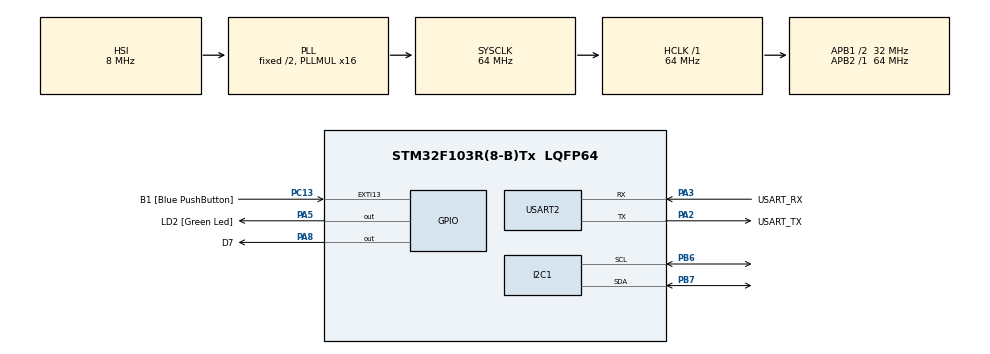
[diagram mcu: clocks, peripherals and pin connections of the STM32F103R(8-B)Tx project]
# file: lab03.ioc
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Mcu.Family=STM32F1
Mcu.Name=STM32F103R(8-B)Tx
Mcu.Package=LQFP64
NVIC.EXTI15_10_IRQn=true\:0\:0\:false\:false\:true\:true\:true\:true
NVIC.PriorityGroup=NVIC_PRIORITYGROUP_4
PA13.GPIO_Label=TMS
PA13.Mode=Serial_Wire
PA13.Signal=SYS_JTMS-SWDIO
PA14.GPIO_Label=TCK
PA14.Mode=Serial_Wire
PA14.Signal=SYS_JTCK-SWCLK
PA2.GPIO_Label=USART_TX
PA2.GPIO_Mode=GPIO_MODE_AF_PP
PA2.GPIO_PuPd=GPIO_NOPULL
PA2.GPIO_Speed=GPIO_SPEED_FREQ_LOW
PA2.Mode=Asynchronous
PA2.Signal=USART2_TX
PA3.GPIO_Label=USART_RX
PA3.GPIO_Mode=GPIO_MODE_AF_PP
PA3.GPIO_PuPd=GPIO_NOPULL
PA3.GPIO_Speed=GPIO_SPEED_FREQ_LOW
PA3.Mode=Asynchronous
PA3.Signal=USART2_RX
PA5.GPIO_Label=LD2 [Green Led]
PA5.GPIO_ModeDefaultOutputPP=GPIO_MODE_OUTPUT_PP
PA5.GPIO_PuPd=GPIO_NOPULL
PA5.GPIO_Speed=GPIO_SPEED_FREQ_LOW
PA5.Signal=GPIO_Output
PA8.GPIO_Label=D7
PA8.Signal=GPIO_Output
PB3.GPIO_Label=SWO
PB3.Signal=SYS_JTDO-TRACESWO
PB6.Mode=I2C
PB6.Signal=I2C1_SCL
PB7.Mode=I2C
PB7.Signal=I2C1_SDA
PC13-TAMPER-RTC.GPIO_Label=B1 [Blue PushButton]
PC13-TAMPER-RTC.GPIO_PuPd=GPIO_NOPULL
PC13-TAMPER-RTC.Signal=GPXTI13
PC14-OSC32_IN.Mode=LSE-External-Oscillator
PC14-OSC32_IN.Signal=RCC_OSC32_IN
PC15-OSC32_OUT.Mode=LSE-External-Oscillator
PC15-OSC32_OUT.Signal=RCC_OSC32_OUT
PD0-OSC_IN.Mode=HSE-External-Clock-Source
PD0-OSC_IN.Signal=RCC_OSC_IN
PD1-OSC_OUT.Mode=HSE-External-Clock-Source
PD1-OSC_OUT.Signal=RCC_OSC_OUT
ProjectManager.HeapSize=0x200
ProjectManager.StackSize=0x400
ProjectManager.TargetToolchain=STM32CubeIDE
RCC.AHBFreq_Value=64000000
RCC.APB1CLKDivider=RCC_HCLK_DIV2
RCC.APB1Freq_Value=32000000
RCC.APB1TimFreq_Value=64000000
RCC.APB2Freq_Value=64000000
RCC.APB2TimFreq_Value=64000000
RCC.HCLKFreq_Value=64000000
RCC.PLLMUL=RCC_PLL_MUL16
RCC.RTCClockSelection=RCC_RTCCLKSOURCE_LSE
RCC.SYSCLKFreq_VALUE=64000000
RCC.SYSCLKSource=RCC_SYSCLKSOURCE_PLLCLK
RCC.USBFreq_Value=64000000
USART2.VirtualMode=VM_ASYNC
board=NUCLEO-F103RB

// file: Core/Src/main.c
/* USER CODE BEGIN Header */
/**
  ******************************************************************************
  * @file           : main.c
  * @brief          : Main program body
  ******************************************************************************
  * @attention
  *
  * Copyright (c) 2025 STMicroelectronics.
  * All rights reserved.
  *
  * This software is licensed under terms that can be found in the LICENSE file
  * in the root directory of this software component.
  * If no LICENSE file comes with this software, it is provided AS-IS.
  *
  ******************************************************************************
  */
/* USER CODE END Header */
#include "main.h"

/* USER CODE BEGIN Includes */
#include "trig.h"
#include <math.h>
#include <stdio.h>
#include <stdlib.h>
#include <string.h>
/* USER CODE END Includes */

I2C_HandleTypeDef hi2c1;

UART_HandleTypeDef huart2;

void SystemClock_Config(void);
static void MX_GPIO_Init(void);
static void MX_USART2_UART_Init(void);
static void MX_I2C1_Init(void);

/* USER CODE BEGIN 0 */
uint8_t ReadChar(void)
{
	uint8_t val;
	while(!(USART2->SR & (1<<5)));
	val = USART2->DR;
	return val;
}

void SendChar(uint8_t c)
{
	USART2->DR = c;
	while(!(USART2->SR & (1<<6)));
}

void SendString(char* string)
{
	while(*string) SendChar(*string++);
}
/* USER CODE END 0 */

int main(void)
{

  /* MCU Configuration--------------------------------------------------------*/

  /* Reset of all peripherals, Initializes the Flash interface and the Systick. */
  HAL_Init();

  /* Configure the system clock */
  SystemClock_Config();

  /* Initialize all configured peripherals */
  MX_GPIO_Init();
  MX_USART2_UART_Init();
  MX_I2C1_Init();
  /* USER CODE BEGIN 2 */
  uint8_t MSG[40] = {'\0'};
  uint16_t time_taken;
  uint8_t inVal;
  uint16_t outVal;
  double outVal_d;
  short outVal_s;
  char sign;
  /* USER CODE END 2 */

  /* Infinite loop */
  while (1)
  {

    /* USER CODE BEGIN 3 */
	  SendString(" Enter 1 for sin and 2 for cos\n\r");
	  inVal = ReadChar();
	  sprintf(MSG, "Entered = %c\n\r", inVal);
	  SendString(MSG);

	  if(inVal == 49)
	  {
		  // x * 32767
		  // sin(0) =================================================================
		  SendString("Enter any to continue\n\r");
		  inVal = ReadChar();
		  HAL_GPIO_WritePin(GPIOA, D7_Pin, GPIO_PIN_SET);
		  outVal_s = custom_sin(0);
		  HAL_GPIO_WritePin(GPIOA, D7_Pin, GPIO_PIN_RESET);
		  if(outVal_s >= 0)
		  {
			  sign = 43;
		  }
		  else
		  {
			  sign = 45;
			  outVal_d *= -1;
		  }
		  outVal = (uint16_t)abs(outVal_s);
		  sprintf(MSG, "Custom Sin 0 = %c %d / 32768\n\r", sign, outVal);
		  HAL_UART_Transmit(&huart2, MSG, sizeof(MSG), 100);
		  memset(MSG, 0, sizeof(MSG));

		  SendString("Enter any to continue\n\r");
		  inVal = ReadChar();
		  HAL_GPIO_WritePin(GPIOA, D7_Pin, GPIO_PIN_SET);
		  outVal_d = regular_sin(0);
		  HAL_GPIO_WritePin(GPIOA, D7_Pin, GPIO_PIN_RESET);
		  if(outVal_d >= 0)
		  {
			  sign = 43;
		  }
		  else
		  {
			  sign = 45;
			  outVal_d *= -1;
		  }
		  outVal = (uint16_t)(outVal_d * 32768);
		  sprintf(MSG, "Regular Sin 0 = %c %d / 32768\n\r", sign, outVal);
		  HAL_UART_Transmit(&huart2, MSG, sizeof(MSG), 100);
		  memset(MSG, 0, sizeof(MSG));

		  // sin(0.3pi) =================================================================
		  SendString("Enter any to continue\n\r");
		  inVal = ReadChar();
		  HAL_GPIO_WritePin(GPIOA, D7_Pin, GPIO_PIN_SET);
		  outVal_s = custom_sin(0.3 * 32768);
		  HAL_GPIO_WritePin(GPIOA, D7_Pin, GPIO_PIN_RESET);
		  if(outVal_s >= 0)
		  {
			  sign = 43;
		  }
		  else
		  {
			  sign = 45;
			  outVal_d *= -1;
		  }
		  outVal = (uint16_t)abs(outVal_s);
		  sprintf(MSG, "Custom Sin 0.3pi = %c %d / 32768\n\r", sign, outVal);
		  HAL_UART_Transmit(&huart2, MSG, sizeof(MSG), 100);
		  memset(MSG, 0, sizeof(MSG));

		  SendString("Enter any to continue\n\r");
		  inVal = ReadChar();
		  HAL_GPIO_WritePin(GPIOA, D7_Pin, GPIO_PIN_SET);
		  outVal_d = regular_sin(0.3 * M_PI);
		  HAL_GPIO_WritePin(GPIOA, D7_Pin, GPIO_PIN_RESET);
		  if(outVal_d >= 0)
		  {
			  sign = 43;
		  }
		  else
		  {
			  sign = 45;
			  outVal_d *= -1;
		  }
		  outVal = (uint16_t)(outVal_d * 32768);
		  sprintf(MSG, "Regular Sin 0.3pi = %c %d / 32768\n\r", sign, outVal);
		  HAL_UART_Transmit(&huart2, MSG, sizeof(MSG), 100);
		  memset(MSG, 0, sizeof(MSG));

		  // sin(0.5pi) =================================================================
		  SendString("Enter any to continue\n\r");
		  inVal = ReadChar();
		  HAL_GPIO_WritePin(GPIOA, D7_Pin, GPIO_PIN_SET);
		  outVal_s = custom_sin(0.5 * 32768);
		  HAL_GPIO_WritePin(GPIOA, D7_Pin, GPIO_PIN_RESET);
		  if(outVal_s >= 0)
		  {
			  sign = 43;
		  }
		  else
		  {
			  sign = 45;
			  outVal_d *= -1;
		  }
		  outVal = (uint16_t)abs(outVal_s);
		  sprintf(MSG, "Custom Sin 0.5pi = %c %d / 32768\n\r", sign, outVal);
		  HAL_UART_Transmit(&huart2, MSG, sizeof(MSG), 100);
		  memset(MSG, 0, sizeof(MSG));

		  SendString("Enter any to continue\n\r");
		  inVal = ReadChar();
		  HAL_GPIO_WritePin(GPIOA, D7_Pin, GPIO_PIN_SET);
		  outVal_d = regular_sin(0.5 * M_PI);
		  HAL_GPIO_WritePin(GPIOA, D7_Pin, GPIO_PIN_RESET);
		  if(outVal_d >= 0)
		  {
			  sign = 43;
		  }
		  else
		  {
			  sign = 45;
			  outVal_d *= -1;
		  }
		  outVal = (uint16_t)(outVal_d * 32768);
		  sprintf(MSG, "Regular Sin 0.5pi = %c %d / 32768\n\r", sign, outVal);
		  HAL_UART_Transmit(&huart2, MSG, sizeof(MSG), 100);
		  memset(MSG, 0, sizeof(MSG));

		  // sin(0.8pi) =================================================================
		  SendString("Enter any to continue\n\r");
		  inVal = ReadChar();
		  HAL_GPIO_WritePin(GPIOA, D7_Pin, GPIO_PIN_SET);
		  outVal_s = custom_sin(0.8 * 32768);
		  HAL_GPIO_WritePin(GPIOA, D7_Pin, GPIO_PIN_RESET);
		  if(outVal_s >= 0)
		  {
			  sign = 43;
		  }
		  else
		  {
			  sign = 45;
			  outVal_d *= -1;
		  }
		  outVal = (uint16_t)abs(outVal_s);
		  sprintf(MSG, "Custom Sin 0.8pi = %c %d / 32768\n\r", sign, outVal);
		  HAL_UART_Transmit(&huart2, MSG, sizeof(MSG), 100);
		  memset(MSG, 0, sizeof(MSG));

		  SendString("Enter any to continue\n\r");
		  inVal = ReadChar();
		  HAL_GPIO_WritePin(GPIOA, D7_Pin, GPIO_PIN_SET);
		  outVal_d = regular_sin(0.8 * M_PI);
		  HAL_GPIO_WritePin(GPIOA, D7_Pin, GPIO_PIN_RESET);
		  if(outVal_d >= 0)
		  {
			  sign = 43;
		  }
		  else
		  {
			  sign = 45;
			  outVal_d *= -1;
		  }
		  outVal = (uint16_t)(outVal_d * 32768);
		  sprintf(MSG, "Regular Sin 0.8pi = %c %d / 32768\n\r", sign, outVal);
		  HAL_UART_Transmit(&huart2, MSG, sizeof(MSG), 100);
		  memset(MSG, 0, sizeof(MSG));

		  // sin(pi) =================================================================
		  SendString("Enter any to continue\n\r");
		  inVal = ReadChar();
		  HAL_GPIO_WritePin(GPIOA, D7_Pin, GPIO_PIN_SET);
		  outVal_s = custom_sin(32768);
		  HAL_GPIO_WritePin(GPIOA, D7_Pin, GPIO_PIN_RESET);
		  if(outVal_s >= 0)
		  {
			  sign = 43;
		  }
		  else
		  {
			  sign = 45;
			  outVal_d *= -1;
		  }
		  outVal = (uint16_t)abs(outVal_s);
		  sprintf(MSG, "Custom Sin pi = %c %d / 32768\n\r", sign, outVal);
		  HAL_UART_Transmit(&huart2, MSG, sizeof(MSG), 100);
		  memset(MSG, 0, sizeof(MSG));

		  SendString("Enter any to continue\n\r");
		  inVal = ReadChar();
		  HAL_GPIO_WritePin(GPIOA, D7_Pin, GPIO_PIN_SET);
		  outVal_d = regular_sin(M_PI);
		  HAL_GPIO_WritePin(GPIOA, D7_Pin, GPIO_PIN_RESET);
		  if(outVal_d >= 0)
		  {
			  sign = 43;
		  }
		  else
		  {
			  sign = 45;
			  outVal_d *= -1;
		  }
		  outVal = (uint16_t)(outVal_d * 32768);
		  sprintf(MSG, "Regular Sin pi = %c %d / 32768\n\r", sign, outVal);
		  HAL_UART_Transmit(&huart2, MSG, sizeof(MSG), 100);
		  memset(MSG, 0, sizeof(MSG));

		  // sin(-0.3pi) =================================================================
		  SendString("Enter any to continue\n\r");
		  inVal = ReadChar();
		  HAL_GPIO_WritePin(GPIOA, D7_Pin, GPIO_PIN_SET);
		  outVal_s = custom_sin(-0.3 * 32768);
		  HAL_GPIO_WritePin(GPIOA, D7_Pin, GPIO_PIN_RESET);
		  if(outVal_s >= 0)
		  {
			  sign = 43;
		  }
		  else
		  {
			  sign = 45;
			  outVal_d *= -1;
		  }
		  outVal = (uint16_t)abs(outVal_s);
		  sprintf(MSG, "Custom Sin -0.3pi = %c %d / 32768\n\r", sign, outVal);
		  HAL_UART_Transmit(&huart2, MSG, sizeof(MSG), 100);
		  memset(MSG, 0, sizeof(MSG));

		  SendString("Enter any to continue\n\r");
		  inVal = ReadChar();
		  HAL_GPIO_WritePin(GPIOA, D7_Pin, GPIO_PIN_SET);
		  outVal_d = regular_sin(-0.3 * M_PI);
		  HAL_GPIO_WritePin(GPIOA, D7_Pin, GPIO_PIN_RESET);
		  if(outVal_d >= 0)
		  {
			  sign = 43;
		  }
		  else
		  {
			  sign = 45;
			  outVal_d *= -1;
		  }
		  outVal = (uint16_t)(outVal_d * 32768);
		  sprintf(MSG, "Regular Sin -0.3pi = %c %d / 32768\n\r", sign, outVal);
		  HAL_UART_Transmit(&huart2, MSG, sizeof(MSG), 100);
		  memset(MSG, 0, sizeof(MSG));

		  // sin(-0.5pi) =================================================================
		  SendString("Enter any to continue\n\r");
		  inVal = ReadChar();
		  HAL_GPIO_WritePin(GPIOA, D7_Pin, GPIO_PIN_SET);
		  outVal_s = custom_sin(-0.5 * 32768);
		  HAL_GPIO_WritePin(GPIOA, D7_Pin, GPIO_PIN_RESET);
		  if(outVal_s >= 0)
		  {
			  sign = 43;
		  }
		  else
		  {
			  sign = 45;
			  outVal_d *= -1;
		  }
		  outVal = (uint16_t)abs(outVal_s);
		  sprintf(MSG, "Custom Sin -0.5pi = %c %d / 32768\n\r", sign, outVal);
		  HAL_UART_Transmit(&huart2, MSG, sizeof(MSG), 100);
		  memset(MSG, 0, sizeof(MSG));

		  SendString("Enter any to continue\n\r");
		  inVal = ReadChar();
		  HAL_GPIO_WritePin(GPIOA, D7_Pin, GPIO_PIN_SET);
		  outVal_d = regular_sin(-0.5 * M_PI);
		  HAL_GPIO_WritePin(GPIOA, D7_Pin, GPIO_PIN_RESET);
		  if(outVal_d >= 0)
		  {
			  sign = 43;
		  }
		  else
		  {
			  sign = 45;
			  outVal_d *= -1;
		  }
		  outVal = (uint16_t)(outVal_d * 32768);
		  sprintf(MSG, "Regular Sin -0.5pi = %c %d / 32768\n\r", sign, outVal);
		  HAL_UART_Transmit(&huart2, MSG, sizeof(MSG), 100);
		  memset(MSG, 0, sizeof(MSG));

		  // sin(-0.8pi) =================================================================
		  SendString("Enter any to continue\n\r");
		  inVal = ReadChar();
		  HAL_GPIO_WritePin(GPIOA, D7_Pin, GPIO_PIN_SET);
		  outVal_s = custom_sin(-0.8 * 32768);
		  HAL_GPIO_WritePin(GPIOA, D7_Pin, GPIO_PIN_RESET);
		  if(outVal_s >= 0)
		  {
			  sign = 43;
		  }
		  else
		  {
			  sign = 45;
			  outVal_d *= -1;
		  }
		  outVal = (uint16_t)abs(outVal_s);
		  sprintf(MSG, "Custom Sin -0.8pi = %c %d / 32768\n\r", sign, outVal);
		  HAL_UART_Transmit(&huart2, MSG, sizeof(MSG), 100);
		  memset(MSG, 0, sizeof(MSG));

		  SendString("Enter any to continue\n\r");
		  inVal = ReadChar();
		  HAL_GPIO_WritePin(GPIOA, D7_Pin, GPIO_PIN_SET);
		  outVal_d = regular_sin(-0.8 * M_PI);
		  HAL_GPIO_WritePin(GPIOA, D7_Pin, GPIO_PIN_RESET);
		  if(outVal_d >= 0)
		  {
			  sign = 43;
		  }
		  else
		  {
			  sign = 45;
			  outVal_d *= -1;
		  }
		  outVal = (uint16_t)(outVal_d * 32768);
		  sprintf(MSG, "Regular Sin -0.8pi = %c %d / 32768\n\r", sign, outVal);
		  HAL_UART_Transmit(&huart2, MSG, sizeof(MSG), 100);
		  memset(MSG, 0, sizeof(MSG));

		  // sin(-pi) =================================================================
		  SendString("Enter any to continue\n\r");
		  inVal = ReadChar();
		  HAL_GPIO_WritePin(GPIOA, D7_Pin, GPIO_PIN_SET);
		  outVal_s = custom_sin(-32768);
		  HAL_GPIO_WritePin(GPIOA, D7_Pin, GPIO_PIN_RESET);
		  if(outVal_s >= 0)
		  {
			  sign = 43;
		  }
		  else
		  {
			  sign = 45;
			  outVal_d *= -1;
		  }
		  outVal = (uint16_t)abs(outVal_s);
		  sprintf(MSG, "Custom Sin -pi = %c %d / 32768\n\r", sign, outVal);
		  HAL_UART_Transmit(&huart2, MSG, sizeof(MSG), 100);
		  memset(MSG, 0, sizeof(MSG));

		  SendString("Enter any to continue\n\r");
		  inVal = ReadChar();
		  HAL_GPIO_WritePin(GPIOA, D7_Pin, GPIO_PIN_SET);
		  outVal_d = regular_sin(-M_PI);
		  HAL_GPIO_WritePin(GPIOA, D7_Pin, GPIO_PIN_RESET);
		  if(outVal_d >= 0)
		  {
			  sign = 43;
		  }
		  else
		  {
			  sign = 45;
			  outVal_d *= -1;
		  }
		  outVal = (uint16_t)(outVal_d * 32768);
		  sprintf(MSG, "Regular Sin -pi = %c %d / 32768\n\r", sign, outVal);
		  HAL_UART_Transmit(&huart2, MSG, sizeof(MSG), 100);
		  memset(MSG, 0, sizeof(MSG));
	  }
	  else if(inVal == 50)
	  {
		  // x * 32767
		  // cos(0) =================================================================
		  SendString("Enter any to continue\n\r");
		  inVal = ReadChar();
		  HAL_GPIO_WritePin(GPIOA, D7_Pin, GPIO_PIN_SET);
		  outVal_s = custom_cos(0);
		  HAL_GPIO_WritePin(GPIOA, D7_Pin, GPIO_PIN_RESET);
		  if(outVal_s >= 0)
		  {
			  sign = 43;
		  }
		  else
		  {
			  sign = 45;
			  outVal_d *= -1;
		  }
		  outVal = (uint16_t)abs(outVal_s);
		  sprintf(MSG, "Custom Cos 0 = %c %d / 32768\n\r", sign, outVal);
		  HAL_UART_Transmit(&huart2, MSG, sizeof(MSG), 100);
		  memset(MSG, 0, sizeof(MSG));

		  SendString("Enter any to continue\n\r");
		  inVal = ReadChar();
		  HAL_GPIO_WritePin(GPIOA, D7_Pin, GPIO_PIN_SET);
		  outVal_d = regular_cos(0);
		  HAL_GPIO_WritePin(GPIOA, D7_Pin, GPIO_PIN_RESET);
		  if(outVal_d >= 0)
		  {
			  sign = 43;
		  }
		  else
		  {
			  sign = 45;
			  outVal_d *= -1;
		  }
		  outVal = (uint16_t)(outVal_d * 32768);
		  sprintf(MSG, "Regular Cos 0 = %c %d / 32768\n\r", sign, outVal);
		  HAL_UART_Transmit(&huart2, MSG, sizeof(MSG), 100);
		  memset(MSG, 0, sizeof(MSG));

		  // cos(0.3pi) =================================================================
		  SendString("Enter any to continue\n\r");
		  inVal = ReadChar();
		  HAL_GPIO_WritePin(GPIOA, D7_Pin, GPIO_PIN_SET);
		  outVal_s = custom_cos(0.3 * 32768);
		  HAL_GPIO_WritePin(GPIOA, D7_Pin, GPIO_PIN_RESET);
		  if(outVal_s >= 0)
		  {
			  sign = 43;
		  }
		  else
		  {
			  sign = 45;
			  outVal_d *= -1;
		  }
		  outVal = (uint16_t)abs(outVal_s);
		  sprintf(MSG, "Custom Cos 0.3pi = %c %d / 32768\n\r", sign, outVal);
		  HAL_UART_Transmit(&huart2, MSG, sizeof(MSG), 100);
		  memset(MSG, 0, sizeof(MSG));

		  SendString("Enter any to continue\n\r");
		  inVal = ReadChar();
		  HAL_GPIO_WritePin(GPIOA, D7_Pin, GPIO_PIN_SET);
		  outVal_d = regular_cos(0.3 * M_PI);
		  HAL_GPIO_WritePin(GPIOA, D7_Pin, GPIO_PIN_RESET);
		  if(outVal_d >= 0)
		  {
			  sign = 43;
		  }
		  else
		  {
			  sign = 45;
			  outVal_d *= -1;
		  }
		  outVal = (uint16_t)(outVal_d * 32768);
		  sprintf(MSG, "Regular Cos 0.3pi = %c %d / 32768\n\r", sign, outVal);
		  HAL_UART_Transmit(&huart2, MSG, sizeof(MSG), 100);
		  memset(MSG, 0, sizeof(MSG));

		  // cos(0.5pi) =================================================================
		  SendString("Enter any to continue\n\r");
		  inVal = ReadChar();
		  HAL_GPIO_WritePin(GPIOA, D7_Pin, GPIO_PIN_SET);
		  outVal_s = custom_cos(0.5 * 32768);
		  HAL_GPIO_WritePin(GPIOA, D7_Pin, GPIO_PIN_RESET);
		  if(outVal_s >= 0)
		  {
			  sign = 43;
		  }
		  else
		  {
			  sign = 45;
			  outVal_d *= -1;
		  }
		  outVal = (uint16_t)abs(outVal_s);
		  sprintf(MSG, "Custom Cos 0.5pi = %c %d / 32768\n\r", sign, outVal);
		  HAL_UART_Transmit(&huart2, MSG, sizeof(MSG), 100);
		  memset(MSG, 0, sizeof(MSG));

		  SendString("Enter any to continue\n\r");
		  inVal = ReadChar();
		  HAL_GPIO_WritePin(GPIOA, D7_Pin, GPIO_PIN_SET);
		  outVal_d = regular_cos(0.5 * M_PI);
		  HAL_GPIO_WritePin(GPIOA, D7_Pin, GPIO_PIN_RESET);
		  if(outVal_d >= 0)
		  {
			  sign = 43;
		  }
		  else
		  {
			  sign = 45;
			  outVal_d *= -1;
		  }
		  outVal = (uint16_t)(outVal_d * 32768);
		  sprintf(MSG, "Regular Cos 0.5pi = %c %d / 32768\n\r", sign, outVal);
		  HAL_UART_Transmit(&huart2, MSG, sizeof(MSG), 100);
		  memset(MSG, 0, sizeof(MSG));

		  // cos(0.8pi) =================================================================
		  SendString("Enter any to continue\n\r");
		  inVal = ReadChar();
		  HAL_GPIO_WritePin(GPIOA, D7_Pin, GPIO_PIN_SET);
		  outVal_s = custom_cos(0.8 * 32768);
		  HAL_GPIO_WritePin(GPIOA, D7_Pin, GPIO_PIN_RESET);
		  if(outVal_s >= 0)
		  {
			  sign = 43;
		  }
		  else
		  {
			  sign = 45;
			  outVal_d *= -1;
		  }
		  outVal = (uint16_t)abs(outVal_s);
		  sprintf(MSG, "Custom Cos 0.8pi = %c %d / 32768\n\r", sign, outVal);
		  HAL_UART_Transmit(&huart2, MSG, sizeof(MSG), 100);
		  memset(MSG, 0, sizeof(MSG));

		  SendString("Enter any to continue\n\r");
		  inVal = ReadChar();
		  HAL_GPIO_WritePin(GPIOA, D7_Pin, GPIO_PIN_SET);
		  outVal_d = regular_cos(0.8 * M_PI);
		  HAL_GPIO_WritePin(GPIOA, D7_Pin, GPIO_PIN_RESET);
		  if(outVal_d >= 0)
		  {
			  sign = 43;
		  }
		  else
		  {
			  sign = 45;
			  outVal_d *= -1;
		  }
		  outVal = (uint16_t)(outVal_d * 32768);
		  sprintf(MSG, "Regular Cos 0.8pi = %c %d / 32768\n\r", sign, outVal);
		  HAL_UART_Transmit(&huart2, MSG, sizeof(MSG), 100);
		  memset(MSG, 0, sizeof(MSG));

		  // cos(pi) =================================================================
		  SendString("Enter any to continue\n\r");
		  inVal = ReadChar();
		  HAL_GPIO_WritePin(GPIOA, D7_Pin, GPIO_PIN_SET);
		  outVal_s = custom_cos(32768);
		  HAL_GPIO_WritePin(GPIOA, D7_Pin, GPIO_PIN_RESET);
		  if(outVal_s >= 0)
		  {
			  sign = 43;
		  }
		  else
		  {
			  sign = 45;
			  outVal_d *= -1;
		  }
		  outVal = (uint16_t)abs(outVal_s);
		  sprintf(MSG, "Custom Cos pi = %c %d / 32768\n\r", sign, outVal);
		  HAL_UART_Transmit(&huart2, MSG, sizeof(MSG), 100);
		  memset(MSG, 0, sizeof(MSG));

		  SendString("Enter any to continue\n\r");
		  inVal = ReadChar();
		  HAL_GPIO_WritePin(GPIOA, D7_Pin, GPIO_PIN_SET);
		  outVal_d = regular_cos(M_PI);
		  HAL_GPIO_WritePin(GPIOA, D7_Pin, GPIO_PIN_RESET);
		  if(outVal_d >= 0)
		  {
			  sign = 43;
		  }
		  else
		  {
			  sign = 45;
			  outVal_d *= -1;
		  }
		  outVal = (uint16_t)(outVal_d * 32768);
		  sprintf(MSG, "Regular Cos pi = %c %d / 32768\n\r", sign, outVal);
		  HAL_UART_Transmit(&huart2, MSG, sizeof(MSG), 100);
		  memset(MSG, 0, sizeof(MSG));

		  // cos(-0.3pi) =================================================================
		  SendString("Enter any to continue\n\r");
		  inVal = ReadChar();
		  HAL_GPIO_WritePin(GPIOA, D7_Pin, GPIO_PIN_SET);
		  outVal_s = custom_cos(-0.3 * 32768);
		  HAL_GPIO_WritePin(GPIOA, D7_Pin, GPIO_PIN_RESET);
		  if(outVal_s >= 0)
		  {
			  sign = 43;
		  }
		  else
		  {
			  sign = 45;
			  outVal_d *= -1;
		  }
		  outVal = (uint16_t)abs(outVal_s);
		  sprintf(MSG, "Custom Cos -0.3pi = %c %d / 32768\n\r", sign, outVal);
		  HAL_UART_Transmit(&huart2, MSG, sizeof(MSG), 100);
		  memset(MSG, 0, sizeof(MSG));

		  SendString("Enter any to continue\n\r");
		  inVal = ReadChar();
		  HAL_GPIO_WritePin(GPIOA, D7_Pin, GPIO_PIN_SET);
		  outVal_d = regular_cos(-0.3 * M_PI);
		  HAL_GPIO_WritePin(GPIOA, D7_Pin, GPIO_PIN_RESET);
		  if(outVal_d >= 0)
		  {
			  sign = 43;
		  }
		  else
		  {
			  sign = 45;
			  outVal_d *= -1;
		  }
		  outVal = (uint16_t)(outVal_d * 32768);
		  sprintf(MSG, "Regular Cos -0.3pi = %c %d / 32768\n\r", sign, outVal);
		  HAL_UART_Transmit(&huart2, MSG, sizeof(MSG), 100);
		  memset(MSG, 0, sizeof(MSG));

		  // cos(-0.5pi) =================================================================
		  SendString("Enter any to continue\n\r");
		  inVal = ReadChar();
		  HAL_GPIO_WritePin(GPIOA, D7_Pin, GPIO_PIN_SET);
		  outVal_s = custom_cos(-0.5 * 32768);
		  HAL_GPIO_WritePin(GPIOA, D7_Pin, GPIO_PIN_RESET);
		  if(outVal_s >= 0)
		  {
			  sign = 43;
		  }
		  else
		  {
			  sign = 45;
			  outVal_d *= -1;
		  }
		  outVal = (uint16_t)abs(outVal_s);
		  sprintf(MSG, "Custom Cos -0.5pi = %c %d / 32768\n\r", sign, outVal);
		  HAL_UART_Transmit(&huart2, MSG, sizeof(MSG), 100);
		  memset(MSG, 0, sizeof(MSG));

		  SendString("Enter any to continue\n\r");
		  inVal = ReadChar();
		  HAL_GPIO_WritePin(GPIOA, D7_Pin, GPIO_PIN_SET);
		  outVal_d = regular_cos(-0.5 * M_PI);
		  HAL_GPIO_WritePin(GPIOA, D7_Pin, GPIO_PIN_RESET);
		  if(outVal_d >= 0)
		  {
			  sign = 43;
		  }
		  else
		  {
			  sign = 45;
			  outVal_d *= -1;
		  }
		  outVal = (uint16_t)(outVal_d * 32768);
		  sprintf(MSG, "Regular Cos -0.5pi = %c %d / 32768\n\r", sign, outVal);
		  HAL_UART_Transmit(&huart2, MSG, sizeof(MSG), 100);
		  memset(MSG, 0, sizeof(MSG));

		  // cos(-0.8pi) =================================================================
		  SendString("Enter any to continue\n\r");
		  inVal = ReadChar();
		  HAL_GPIO_WritePin(GPIOA, D7_Pin, GPIO_PIN_SET);
		  outVal_s = custom_cos(-0.8 * 32768);
		  HAL_GPIO_WritePin(GPIOA, D7_Pin, GPIO_PIN_RESET);
		  if(outVal_s >= 0)
		  {
			  sign = 43;
		  }
		  else
		  {
			  sign = 45;
			  outVal_d *= -1;
		  }
		  outVal = (uint16_t)abs(outVal_s);
		  sprintf(MSG, "Custom Cos -0.8pi = %c %d / 32768\n\r", sign, outVal);
		  HAL_UART_Transmit(&huart2, MSG, sizeof(MSG), 100);
		  memset(MSG, 0, sizeof(MSG));

		  SendString("Enter any to continue\n\r");
		  inVal = ReadChar();
		  HAL_GPIO_WritePin(GPIOA, D7_Pin, GPIO_PIN_SET);
		  outVal_d = regular_cos(-0.8 * M_PI);
		  HAL_GPIO_WritePin(GPIOA, D7_Pin, GPIO_PIN_RESET);
		  if(outVal_d >= 0)
		  {
			  sign = 43;
		  }
		  else
		  {
			  sign = 45;
			  outVal_d *= -1;
		  }
		  outVal = (uint16_t)(outVal_d * 32768);
		  sprintf(MSG, "Regular Cos -0.8pi = %c %d / 32768\n\r", sign, outVal);
		  HAL_UART_Transmit(&huart2, MSG, sizeof(MSG), 100);
		  memset(MSG, 0, sizeof(MSG));

		  // cos(-pi) =================================================================
		  SendString("Enter any to continue\n\r");
		  inVal = ReadChar();
		  HAL_GPIO_WritePin(GPIOA, D7_Pin, GPIO_PIN_SET);
		  outVal_s = custom_cos(-32768);
		  HAL_GPIO_WritePin(GPIOA, D7_Pin, GPIO_PIN_RESET);
		  if(outVal_s >= 0)
		  {
			  sign = 43;
		  }
		  else
		  {
			  sign = 45;
			  outVal_d *= -1;
		  }
		  outVal = (uint16_t)abs(outVal_s);
		  sprintf(MSG, "Custom Cos -pi = %c %d / 32768\n\r", sign, outVal);
		  HAL_UART_Transmit(&huart2, MSG, sizeof(MSG), 100);
		  memset(MSG, 0, sizeof(MSG));

		  SendString("Enter any to continue\n\r");
		  inVal = ReadChar();
		  HAL_GPIO_WritePin(GPIOA, D7_Pin, GPIO_PIN_SET);
		  outVal_d = regular_cos(-M_PI);
		  HAL_GPIO_WritePin(GPIOA, D7_Pin, GPIO_PIN_RESET);
		  if(outVal_d >= 0)
		  {
			  sign = 43;
		  }
		  else
		  {
			  sign = 45;
			  outVal_d *= -1;
		  }
		  outVal = (uint16_t)(outVal_d * 32768);
		  sprintf(MSG, "Regular Cos -pi = %c %d / 32768\n\r", sign, outVal);
		  HAL_UART_Transmit(&huart2, MSG, sizeof(MSG), 100);
		  memset(MSG, 0, sizeof(MSG));
	  }
	  HAL_Delay(1000);
  }
  /* USER CODE END 3 */
}

void SystemClock_Config(void)
{
  RCC_OscInitTypeDef RCC_OscInitStruct = {0};
  RCC_ClkInitTypeDef RCC_ClkInitStruct = {0};

  /** Initializes the RCC Oscillators according to the specified parameters
  * in the RCC_OscInitTypeDef structure.
  */
  RCC_OscInitStruct.OscillatorType = RCC_OSCILLATORTYPE_HSI;
  RCC_OscInitStruct.HSIState = RCC_HSI_ON;
  RCC_OscInitStruct.HSICalibrationValue = RCC_HSICALIBRATION_DEFAULT;
  RCC_OscInitStruct.PLL.PLLState = RCC_PLL_ON;
  RCC_OscInitStruct.PLL.PLLSource = RCC_PLLSOURCE_HSI_DIV2;
  RCC_OscInitStruct.PLL.PLLMUL = RCC_PLL_MUL16;
  if (HAL_RCC_OscConfig(&RCC_OscInitStruct) != HAL_OK)
  {
    Error_Handler();
  }

  /** Initializes the CPU, AHB and APB buses clocks
  */
  RCC_ClkInitStruct.ClockType = RCC_CLOCKTYPE_HCLK|RCC_CLOCKTYPE_SYSCLK
                              |RCC_CLOCKTYPE_PCLK1|RCC_CLOCKTYPE_PCLK2;
  RCC_ClkInitStruct.SYSCLKSource = RCC_SYSCLKSOURCE_PLLCLK;
  RCC_ClkInitStruct.AHBCLKDivider = RCC_SYSCLK_DIV1;
  RCC_ClkInitStruct.APB1CLKDivider = RCC_HCLK_DIV2;
  RCC_ClkInitStruct.APB2CLKDivider = RCC_HCLK_DIV1;

  if (HAL_RCC_ClockConfig(&RCC_ClkInitStruct, FLASH_LATENCY_2) != HAL_OK)
  {
    Error_Handler();
  }
}

static void MX_I2C1_Init(void)
{

  hi2c1.Instance = I2C1;
  hi2c1.Init.ClockSpeed = 100000;
  hi2c1.Init.DutyCycle = I2C_DUTYCYCLE_2;
  hi2c1.Init.OwnAddress1 = 0;
  hi2c1.Init.AddressingMode = I2C_ADDRESSINGMODE_7BIT;
  hi2c1.Init.DualAddressMode = I2C_DUALADDRESS_DISABLE;
  hi2c1.Init.OwnAddress2 = 0;
  hi2c1.Init.GeneralCallMode = I2C_GENERALCALL_DISABLE;
  hi2c1.Init.NoStretchMode = I2C_NOSTRETCH_DISABLE;
  if (HAL_I2C_Init(&hi2c1) != HAL_OK)
  {
    Error_Handler();
  }

}

static void MX_USART2_UART_Init(void)
{

  huart2.Instance = USART2;
  huart2.Init.BaudRate = 115200;
  huart2.Init.WordLength = UART_WORDLENGTH_8B;
  huart2.Init.StopBits = UART_STOPBITS_1;
  huart2.Init.Parity = UART_PARITY_NONE;
  huart2.Init.Mode = UART_MODE_TX_RX;
  huart2.Init.HwFlowCtl = UART_HWCONTROL_NONE;
  huart2.Init.OverSampling = UART_OVERSAMPLING_16;
  if (HAL_UART_Init(&huart2) != HAL_OK)
  {
    Error_Handler();
  }

}

static void MX_GPIO_Init(void)
{
  GPIO_InitTypeDef GPIO_InitStruct = {0};

  /* GPIO Ports Clock Enable */
  __HAL_RCC_GPIOC_CLK_ENABLE();
  __HAL_RCC_GPIOD_CLK_ENABLE();
  __HAL_RCC_GPIOA_CLK_ENABLE();
  __HAL_RCC_GPIOB_CLK_ENABLE();

  /*Configure GPIO pin Output Level */
  HAL_GPIO_WritePin(GPIOA, LD2_Pin|D7_Pin, GPIO_PIN_RESET);

  /*Configure GPIO pin : B1_Pin */
  GPIO_InitStruct.Pin = B1_Pin;
  GPIO_InitStruct.Mode = GPIO_MODE_IT_RISING;
  GPIO_InitStruct.Pull = GPIO_NOPULL;
  HAL_GPIO_Init(B1_GPIO_Port, &GPIO_InitStruct);

  /*Configure GPIO pins : LD2_Pin D7_Pin */
  GPIO_InitStruct.Pin = LD2_Pin|D7_Pin;
  GPIO_InitStruct.Mode = GPIO_MODE_OUTPUT_PP;
  GPIO_InitStruct.Pull = GPIO_NOPULL;
  GPIO_InitStruct.Speed = GPIO_SPEED_FREQ_LOW;
  HAL_GPIO_Init(GPIOA, &GPIO_InitStruct);

  /* EXTI interrupt init*/
  HAL_NVIC_SetPriority(EXTI15_10_IRQn, 0, 0);
  HAL_NVIC_EnableIRQ(EXTI15_10_IRQn);

}

void Error_Handler(void)
{
  __disable_irq();
  while (1)
  {
  }
}
